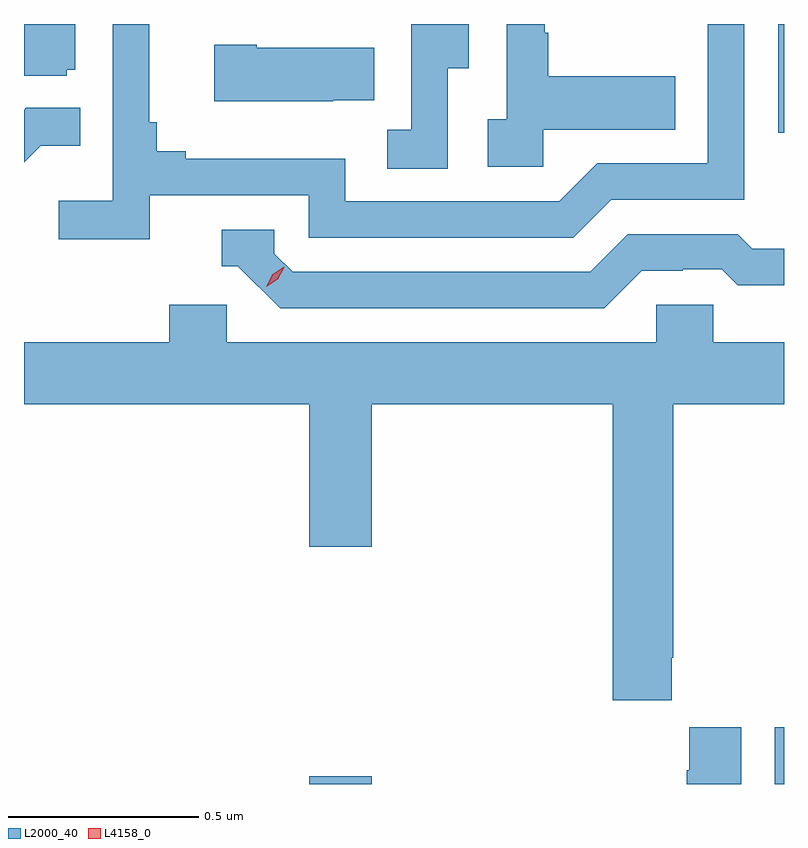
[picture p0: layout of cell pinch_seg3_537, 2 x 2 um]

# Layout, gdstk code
import gdstk
lib = gdstk.Library(unit=1e-6, precision=1e-09)
def R(c, l, rs):  # rectangles x0, y0, x1, y1
    for r in rs: c.add(gdstk.rectangle(r[:2], r[2:], *l))
def P(c, l, *ps):  # polygons
    for p in ps: c.add(gdstk.Polygon(p, *l))
L2000_40 = (2000, 40)
L4158_0 = (4158, 0)

pinch_seg3_537 = lib.new_cell('pinch_seg3_537')
R(pinch_seg3_537, L2000_40, [(1136.036,705.245,1136.2,705.265), (1137.26,705.245,1137.285,705.394), (1137.27,706.959,1137.285,707.245)])
P(pinch_seg3_537, L2000_40, [(1136.4,707.128),(1136.455,707.128),(1136.455,707.245),(1136.304,707.245),(1136.304,706.967),(1136.241,706.967),(1136.241,706.864),(1136.4,706.864)],
  [(1136.652,706.967),(1136.999,706.967),(1136.999,707.107),(1136.665,707.107),(1136.665,707.222),(1136.655,707.222),(1136.655,707.245),(1136.556,707.245),(1136.556,706.994),(1136.505,706.994),(1136.505,706.869),(1136.652,706.869)],
  [(1135.616,706.794),(1136.034,706.794),(1136.034,706.683),(1136.731,706.683),(1136.83,706.782),(1137.18,706.782),(1137.18,707.245),(1137.084,707.245),(1137.084,706.878),(1136.793,706.878),(1136.694,706.779),(1136.13,706.779),(1136.13,706.891),(1135.711,706.891),(1135.711,706.91),(1135.634,706.91),(1135.634,706.987),(1135.615,706.987),(1135.615,707.245),(1135.518,707.245),(1135.518,706.78),(1135.377,706.78),(1135.377,706.678),(1135.616,706.678)],
  [(1135.398,707.124),(1135.42,707.124),(1135.42,707.245),(1135.285,707.245),(1135.285,707.109),(1135.398,707.109)],
  [(1136.099,707.045),(1136.207,707.045),(1136.207,707.182),(1135.897,707.182),(1135.897,707.19),(1135.785,707.19),(1135.785,707.042),(1136.099,707.042)],
  [(1135.329,706.925),(1135.433,706.925),(1135.433,707.024),(1135.289,707.024),(1135.285,707.02),(1135.285,706.881)],
  [(1136.911,706.596),(1137.018,706.596),(1137.018,706.599),(1137.121,706.599),(1137.163,706.557),(1137.285,706.557),(1137.285,706.653),(1137.202,706.653),(1137.163,706.692),(1136.874,706.692),(1136.775,706.593),(1135.992,706.593),(1135.944,706.641),(1135.944,706.704),(1135.805,706.704),(1135.805,706.608),(1135.848,706.608),(1135.959,706.497),(1136.812,706.497)],
  [(1136.989,705.577),(1136.994,705.577),(1136.994,706.244),(1137.285,706.244),(1137.285,706.408),(1137.099,706.408),(1137.099,706.506),(1136.949,706.506),(1136.949,706.408),(1135.818,706.408),(1135.818,706.506),(1135.667,706.506),(1135.667,706.408),(1135.285,706.408),(1135.285,706.244),(1136.036,706.244),(1136.036,705.87),(1136.2,705.87),(1136.2,706.244),(1136.834,706.244),(1136.834,705.465),(1136.989,705.465)],
  [(1137.172,705.394),(1137.035,705.394),(1137.035,705.281),(1137.029,705.281),(1137.029,705.245),(1137.172,705.245)])
P(pinch_seg3_537, L4158_0, [(1135.922,706.554),(1135.922,706.554),(1135.939,706.586),(1135.97,706.606),(1135.97,706.606),(1135.97,706.605),(1135.953,706.573),(1135.922,706.554)])

lib.write_gds('pinch_seg3_537.gds')
